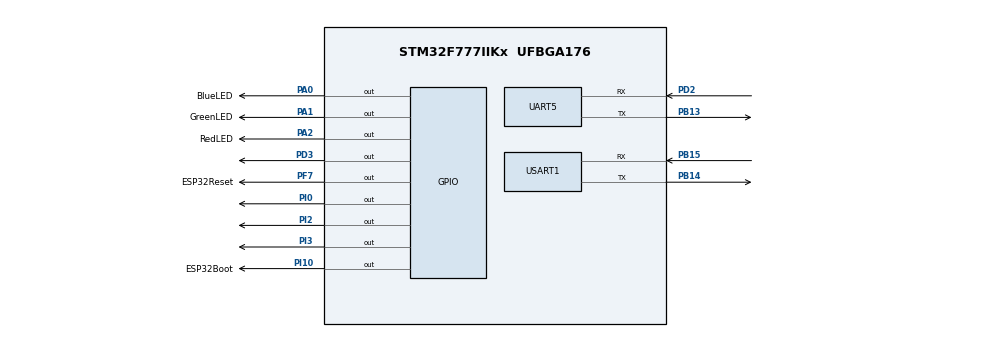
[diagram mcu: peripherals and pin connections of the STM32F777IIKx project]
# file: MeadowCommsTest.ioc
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Mcu.Family=STM32F7
Mcu.Name=STM32F777IIKx
Mcu.Package=UFBGA176
NVIC.PriorityGroup=NVIC_PRIORITYGROUP_4
NVIC.UART5_IRQn=true\:0\:0\:false\:false\:true\:true\:true
NVIC.USART1_IRQn=true\:0\:0\:false\:false\:true\:true\:true
PA0/WKUP.GPIO_Label=BlueLED
PA0/WKUP.Signal=GPIO_Output
PA1.GPIO_Label=GreenLED
PA1.Signal=GPIO_Output
PA2.GPIO_Label=RedLED
PA2.Signal=GPIO_Output
PB13.Mode=Asynchronous
PB13.Signal=UART5_TX
PB14.Mode=Asynchronous
PB14.Signal=USART1_TX
PB15.Mode=Asynchronous
PB15.Signal=USART1_RX
PD2.Mode=Asynchronous
PD2.Signal=UART5_RX
PD3.Signal=GPIO_Output
PF7.GPIO_Label=ESP32Reset
PF7.GPIO_PuPd=GPIO_PULLUP
PF7.PinState=GPIO_PIN_SET
PF7.Signal=GPIO_Output
PI0.Signal=GPIO_Output
PI10.GPIO_Label=ESP32Boot
PI10.GPIO_PuPd=GPIO_PULLUP
PI10.PinState=GPIO_PIN_SET
PI10.Signal=GPIO_Output
PI2.Signal=GPIO_Output
PI3.Signal=GPIO_Output
ProjectManager.HeapSize=0x200
ProjectManager.StackSize=0x400
ProjectManager.TargetToolchain=STM32CubeIDE
RCC.HSE_VALUE=25000000
RCC.HSI_VALUE=16000000
RCC.LSE_VALUE=32768
RCC.USBFreq_Value=96000000
RCC.VCOOutputFreq_Value=192000000
USART1.VirtualMode-Asynchronous=VM_ASYNC
board=custom

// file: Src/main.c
/* USER CODE BEGIN Header */
/**
 ******************************************************************************
 * @file           : main.c
 * @brief          : Main program body
 ******************************************************************************
 ** This notice applies to any and all portions of this file
 * that are not between comment pairs USER CODE BEGIN and
 * USER CODE END. Other portions of this file, whether
 * inserted by the user or by software development tools
 * are owned by their respective copyright owners.
 *
 * COPYRIGHT(c) 2019 STMicroelectronics
 *
 * Redistribution and use in source and binary forms, with or without modification,
 * are permitted provided that the following conditions are met:
 *   1. Redistributions of source code must retain the above copyright notice,
 *      this list of conditions and the following disclaimer.
 *   2. Redistributions in binary form must reproduce the above copyright notice,
 *      this list of conditions and the following disclaimer in the documentation
 *      and/or other materials provided with the distribution.
 *   3. Neither the name of STMicroelectronics nor the names of its contributors
 *      may be used to endorse or promote products derived from this software
 *      without specific prior written permission.
 *
 * THIS SOFTWARE IS PROVIDED BY THE COPYRIGHT HOLDERS AND CONTRIBUTORS "AS IS"
 * AND ANY EXPRESS OR IMPLIED WARRANTIES, INCLUDING, BUT NOT LIMITED TO, THE
 * IMPLIED WARRANTIES OF MERCHANTABILITY AND FITNESS FOR A PARTICULAR PURPOSE ARE
 * DISCLAIMED. IN NO EVENT SHALL THE COPYRIGHT HOLDER OR CONTRIBUTORS BE LIABLE
 * FOR ANY DIRECT, INDIRECT, INCIDENTAL, SPECIAL, EXEMPLARY, OR CONSEQUENTIAL
 * DAMAGES (INCLUDING, BUT NOT LIMITED TO, PROCUREMENT OF SUBSTITUTE GOODS OR
 * SERVICES; LOSS OF USE, DATA, OR PROFITS; OR BUSINESS INTERRUPTION) HOWEVER
 * CAUSED AND ON ANY THEORY OF LIABILITY, WHETHER IN CONTRACT, STRICT LIABILITY,
 * OR TORT (INCLUDING NEGLIGENCE OR OTHERWISE) ARISING IN ANY WAY OUT OF THE USE
 * OF THIS SOFTWARE, EVEN IF ADVISED OF THE POSSIBILITY OF SUCH DAMAGE.
 *
 ******************************************************************************
 */
/* USER CODE END Header */

#include "main.h"

/* USER CODE BEGIN Includes */

#include <string.h>
#include "ESPFunctions.h"

/* USER CODE END Includes */

UART_HandleTypeDef huart5;
UART_HandleTypeDef huart1;

/* USER CODE BEGIN PV */

/*
 *    Hold the data generated by the interrupt.
 */
char _rxData[2];

/*
 *    Hold the accumulated data incoming from the UART.
 */
#define RX_BUFFER_CAPACITY 1000
char _rxBuffer[RX_BUFFER_CAPACITY];

/*
 *    Location of the next character in the accumulated buffer.
 */
uint8_t _rxIndex;

/* USER CODE END PV */

void SystemClock_Config(void);
static void MX_GPIO_Init(void);
static void MX_USART1_UART_Init(void);
static void MX_UART5_Init(void);

/* USER CODE BEGIN 0 */

/*
 *    @brief UART Data Received callback.
 *
 *    @param huart
 *      Handle for the UART generating the interrupt.
 */
void HAL_UART_RxCpltCallback(UART_HandleTypeDef *huart)
{
	if (huart->Instance == huart5.Instance)
	{
		if (_rxIndex < RX_BUFFER_CAPACITY)
		{
			_rxBuffer[_rxIndex++] = _rxData[0];
		}
		HAL_UART_Receive_IT(&huart5, (uint8_t *) _rxData, 1);
	}
}

/*
 *    Send the specified message to the UART.
 */
void SendMessageToConsole(char *message)
{
	HAL_UART_Transmit(&huart1, (uint8_t *) message, strlen(message), HAL_MAX_DELAY);
}

/* USER CODE END 0 */

int main(void)
{
	/* USER CODE BEGIN 1 */

	for (int index = 0; index < RX_BUFFER_CAPACITY; index++)
	{
		_rxBuffer[index] = 0;
	}
	_rxIndex = 0;

#define SIZE_OF_INITIALISATION_MESSAGE 46
	uint8_t initialisationMessage[SIZE_OF_INITIALISATION_MESSAGE];
	initialisationMessage[0] = 0xc0;
	initialisationMessage[1] = 0x00;
	initialisationMessage[2] = 0x08;
	initialisationMessage[3] = 0x24;
	initialisationMessage[4] = 0x00;
	initialisationMessage[5] = 0x00;
	initialisationMessage[6] = 0x00;
	initialisationMessage[7] = 0x00;
	initialisationMessage[8] = 0x00;
	memcpy(initialisationMessage + 9, syncFrame, SIZE_OF_SYNC_FRAME);
	initialisationMessage[45] = 0xc0;

	/* USER CODE END 1 */

	/* MCU Configuration--------------------------------------------------------*/

	/* Reset of all peripherals, Initializes the Flash interface and the Systick. */
	HAL_Init();

	/* Configure the system clock */
	SystemClock_Config();

	/* Initialize all configured peripherals */
	MX_GPIO_Init();
	MX_USART1_UART_Init();
	MX_UART5_Init();
	/* USER CODE BEGIN 2 */

	HAL_GPIO_WritePin(BlueLED_GPIO_Port, BlueLED_Pin, GPIO_PIN_SET);
	HAL_GPIO_WritePin(RedLED_GPIO_Port, RedLED_Pin, GPIO_PIN_SET);
	HAL_UART_Receive_IT(&huart5, (uint8_t *) _rxData, 1);

	/* USER CODE END 2 */

	/* Infinite loop */
	/* USER CODE BEGIN WHILE */

	enum CommunicationState currentState = Synchronising;
	int retryCount = 0;
	SendMessageToConsole("\n\nESP32 Programmer\n");
	//
	//  Reset the ESP32 and put into boot loader mode.
	//
	HAL_GPIO_WritePin(ESP32Reset_GPIO_Port, ESP32Reset_Pin, GPIO_PIN_RESET);
	HAL_GPIO_WritePin(ESP32Boot_GPIO_Port, ESP32Boot_Pin, GPIO_PIN_RESET);
	HAL_Delay(10);
	HAL_GPIO_WritePin(ESP32Reset_GPIO_Port, ESP32Reset_Pin, GPIO_PIN_SET);
	HAL_Delay(100);
	HAL_GPIO_WritePin(ESP32Boot_GPIO_Port, ESP32Boot_Pin, GPIO_PIN_SET);
	//
	//  Should now be in boot loader.
	//
	uint8_t copyOfBuffer[RX_BUFFER_CAPACITY];
	int sizeOfBuffer = _rxIndex;
	while ((currentState == Synchronising) && (retryCount < 10))
	{
		SendMessageToConsole("Sending synchronisation frame.\n");
		HAL_GPIO_TogglePin(GreenLED_GPIO_Port, GreenLED_Pin);
		HAL_UART_Transmit(&huart5, syncFrame, SIZE_OF_SYNC_FRAME, HAL_MAX_DELAY);
		SendMessageToConsole(BufferInHexadecimal(syncFrame, SIZE_OF_SYNC_FRAME));
		SendMessageToConsole("\nFollowed by:\n");
		HAL_Delay(200);
		HAL_UART_Transmit(&huart5, initialisationMessage, sizeof(initialisationMessage), HAL_MAX_DELAY);
		char *message = BufferInHexadecimal(initialisationMessage, SIZE_OF_INITIALISATION_MESSAGE);
		SendMessageToConsole(message);
		HAL_Delay(200);

		if (sizeOfBuffer > 0)
		{
			//
			//  Take a copy of the input buffer in case any more data arrives.
			//
			memcpy(copyOfBuffer, _rxBuffer, _rxIndex);
			_rxIndex = 0;
			SendMessageToConsole("Received:\n");
			char *message = BufferInHexadecimal(copyOfBuffer, sizeOfBuffer);
			SendMessageToConsole(message);
			free(message);

			uint8_t *start = copyOfBuffer;
			uint8_t *end = start + sizeOfBuffer;
			uint8_t extractedMessage[100];
			int extractedMessageIndex = 0;
			int seekingMessage = 1;
			uint8_t syncCompleteMessage[] = { 0x01, 0x08, 0x04, 0x00, 0x07, 0x07, 0x12, 0x20, 0x00, 0x00, 0x00, 0x00 };
			while ((start < end) && (currentState == Synchronising))
			{
				if ((*start == 0xC0) && (seekingMessage == 1))
				{
					seekingMessage = 0;
					start++;
				}
				else
				{
					if (seekingMessage == 1)
					{
						start++;
					}
					else
					{
						if (*start == 0xC0)
						{
							char *message = BufferInHexadecimal(extractedMessage, extractedMessageIndex);
							SendMessageToConsole("Extracted message:\n");
							SendMessageToConsole(message);
							SendMessageToConsole("\n");
							free(message);
							if (extractedMessageIndex == sizeof(syncCompleteMessage))
							{
								int same = 1;
								for (int index = 0; index < extractedMessageIndex; index++)
								{
									if (extractedMessage[index] != syncCompleteMessage[index])
									{
										same = 0;
										break;
									}
								}
								if (same == 1)
								{
									SendMessageToConsole("Synchronisation complete.\n\nGettingChip ID\n");
									currentState = GettingChipID;
								}
							}
							seekingMessage = 1;
							extractedMessageIndex = 0;
						}
						else
						{
							extractedMessage[extractedMessageIndex] = *start;
							start++;
							extractedMessageIndex++;
						}
					}
				}
			}
		}
		retryCount++;

		/* USER CODE END WHILE */

		/* USER CODE BEGIN 3 */
	}

	HAL_Delay(500);
	_rxIndex = 0;

	uint8_t getChipIDMessage[] = { 0xc0, 0x00, 0x0a, 0x04, 0x00, 0x00, 0x00, 0x00, 0x00, 0x0c, 0xa0, 0x01, 0x60, 0xc0 };
	HAL_GPIO_TogglePin(GreenLED_GPIO_Port, GreenLED_Pin);
	SendMessageToConsole("Sending message:\n");
	char *message = BufferInHexadecimal(getChipIDMessage, sizeof(getChipIDMessage));
	SendMessageToConsole(message);
	free(message);
	HAL_UART_Transmit(&huart5, getChipIDMessage, sizeof(getChipIDMessage), HAL_MAX_DELAY);
	HAL_Delay(100);
	sizeOfBuffer = _rxIndex;
	if (sizeOfBuffer > 0)
	{
		//
		//  Take a copy of the input buffer in case any more data arrives.
		//
		memcpy(copyOfBuffer, _rxBuffer, _rxIndex);
		_rxIndex = 0;
		SendMessageToConsole("Received:\n");
		char *message = BufferInHexadecimal(copyOfBuffer, sizeOfBuffer);
		SendMessageToConsole(message);
		free(message);
		//
		//  Now decode the message.
		//
		if (sizeOfBuffer == 14)
		{
			uint32_t chipRegister = (copyOfBuffer[8] << 24) | (copyOfBuffer[7] << 16) | (copyOfBuffer[6] << 8) | copyOfBuffer[5];
			uint32_t revision = (chipRegister >> 15) & 0x01;
			uint32_t chipType = (chipRegister >> 9) & 0x07;
			char *chipName;
			switch (chipType)
			{
				case 0:
					chipName = "ESP32D0WDQ6";
					break;
				case 1:
					chipName = "ESP32D0WDQ5";
					break;
				case 2:
					chipName = "ESP32D2WDQ5";
					break;
				case 5:
					chipName = "ESP32-PICO-D4";
					break;
				default:
					chipName = "Unknown chip name";
					break;
			}
			char chipMessage[100];
			snprintf(chipMessage, 100, "Chip is a %s, (revision %ld)\n", chipName, revision);
			SendMessageToConsole(chipMessage);
		}
	}

	SendMessageToConsole("Exiting.\n");

	/* USER CODE END 3 */
}

void SystemClock_Config(void)
{
	RCC_OscInitTypeDef RCC_OscInitStruct = { 0 };
	RCC_ClkInitTypeDef RCC_ClkInitStruct = { 0 };
	RCC_PeriphCLKInitTypeDef PeriphClkInitStruct = { 0 };

	/** Configure the main internal regulator output voltage
	 */
	__HAL_RCC_PWR_CLK_ENABLE()
	;
	__HAL_PWR_VOLTAGESCALING_CONFIG(PWR_REGULATOR_VOLTAGE_SCALE3);
	/** Initializes the CPU, AHB and APB busses clocks
	 */
	RCC_OscInitStruct.OscillatorType = RCC_OSCILLATORTYPE_HSI;
	RCC_OscInitStruct.HSIState = RCC_HSI_ON;
	RCC_OscInitStruct.HSICalibrationValue = RCC_HSICALIBRATION_DEFAULT;
	RCC_OscInitStruct.PLL.PLLState = RCC_PLL_NONE;
	if (HAL_RCC_OscConfig(&RCC_OscInitStruct) != HAL_OK)
	{
		Error_Handler();
	}
	/** Initializes the CPU, AHB and APB busses clocks
	 */
	RCC_ClkInitStruct.ClockType = RCC_CLOCKTYPE_HCLK | RCC_CLOCKTYPE_SYSCLK | RCC_CLOCKTYPE_PCLK1 | RCC_CLOCKTYPE_PCLK2;
	RCC_ClkInitStruct.SYSCLKSource = RCC_SYSCLKSOURCE_HSI;
	RCC_ClkInitStruct.AHBCLKDivider = RCC_SYSCLK_DIV1;
	RCC_ClkInitStruct.APB1CLKDivider = RCC_HCLK_DIV1;
	RCC_ClkInitStruct.APB2CLKDivider = RCC_HCLK_DIV1;

	if (HAL_RCC_ClockConfig(&RCC_ClkInitStruct, FLASH_LATENCY_0) != HAL_OK)
	{
		Error_Handler();
	}
	PeriphClkInitStruct.PeriphClockSelection = RCC_PERIPHCLK_USART1 | RCC_PERIPHCLK_UART5;
	PeriphClkInitStruct.Usart1ClockSelection = RCC_USART1CLKSOURCE_PCLK2;
	PeriphClkInitStruct.Uart5ClockSelection = RCC_UART5CLKSOURCE_PCLK1;
	if (HAL_RCCEx_PeriphCLKConfig(&PeriphClkInitStruct) != HAL_OK)
	{
		Error_Handler();
	}
}

static void MX_UART5_Init(void)
{

	huart5.Instance = UART5;
	huart5.Init.BaudRate = 115200;
	huart5.Init.WordLength = UART_WORDLENGTH_8B;
	huart5.Init.StopBits = UART_STOPBITS_1;
	huart5.Init.Parity = UART_PARITY_NONE;
	huart5.Init.Mode = UART_MODE_TX_RX;
	huart5.Init.HwFlowCtl = UART_HWCONTROL_NONE;
	huart5.Init.OverSampling = UART_OVERSAMPLING_16;
	huart5.Init.OneBitSampling = UART_ONE_BIT_SAMPLE_DISABLE;
	huart5.AdvancedInit.AdvFeatureInit = UART_ADVFEATURE_NO_INIT;
	if (HAL_UART_Init(&huart5) != HAL_OK)
	{
		Error_Handler();
	}

}

static void MX_USART1_UART_Init(void)
{

	huart1.Instance = USART1;
	huart1.Init.BaudRate = 115200;
	huart1.Init.WordLength = UART_WORDLENGTH_8B;
	huart1.Init.StopBits = UART_STOPBITS_1;
	huart1.Init.Parity = UART_PARITY_NONE;
	huart1.Init.Mode = UART_MODE_TX_RX;
	huart1.Init.HwFlowCtl = UART_HWCONTROL_NONE;
	huart1.Init.OverSampling = UART_OVERSAMPLING_16;
	huart1.Init.OneBitSampling = UART_ONE_BIT_SAMPLE_DISABLE;
	huart1.AdvancedInit.AdvFeatureInit = UART_ADVFEATURE_NO_INIT;
	if (HAL_UART_Init(&huart1) != HAL_OK)
	{
		Error_Handler();
	}

}

static void MX_GPIO_Init(void)
{
	GPIO_InitTypeDef GPIO_InitStruct = { 0 };

	/* GPIO Ports Clock Enable */
	__HAL_RCC_GPIOI_CLK_ENABLE()
	;
	__HAL_RCC_GPIOD_CLK_ENABLE()
	;
	__HAL_RCC_GPIOF_CLK_ENABLE()
	;
	__HAL_RCC_GPIOA_CLK_ENABLE()
	;
	__HAL_RCC_GPIOB_CLK_ENABLE()
	;

	/*Configure GPIO pin Output Level */
	HAL_GPIO_WritePin(GPIOI, GPIO_PIN_3 | GPIO_PIN_2 | GPIO_PIN_0, GPIO_PIN_RESET);

	/*Configure GPIO pin Output Level */
	HAL_GPIO_WritePin(GPIOD, GPIO_PIN_3, GPIO_PIN_RESET);

	/*Configure GPIO pin Output Level */
	HAL_GPIO_WritePin(ESP32Boot_GPIO_Port, ESP32Boot_Pin, GPIO_PIN_SET);

	/*Configure GPIO pin Output Level */
	HAL_GPIO_WritePin(ESP32Reset_GPIO_Port, ESP32Reset_Pin, GPIO_PIN_SET);

	/*Configure GPIO pin Output Level */
	HAL_GPIO_WritePin(GPIOA, GreenLED_Pin | BlueLED_Pin | RedLED_Pin, GPIO_PIN_RESET);

	/*Configure GPIO pins : PI3 PI2 PI0 */
	GPIO_InitStruct.Pin = GPIO_PIN_3 | GPIO_PIN_2 | GPIO_PIN_0;
	GPIO_InitStruct.Mode = GPIO_MODE_OUTPUT_PP;
	GPIO_InitStruct.Pull = GPIO_NOPULL;
	GPIO_InitStruct.Speed = GPIO_SPEED_FREQ_LOW;
	HAL_GPIO_Init(GPIOI, &GPIO_InitStruct);

	/*Configure GPIO pin : PD3 */
	GPIO_InitStruct.Pin = GPIO_PIN_3;
	GPIO_InitStruct.Mode = GPIO_MODE_OUTPUT_PP;
	GPIO_InitStruct.Pull = GPIO_NOPULL;
	GPIO_InitStruct.Speed = GPIO_SPEED_FREQ_LOW;
	HAL_GPIO_Init(GPIOD, &GPIO_InitStruct);

	/*Configure GPIO pin : ESP32Boot_Pin */
	GPIO_InitStruct.Pin = ESP32Boot_Pin;
	GPIO_InitStruct.Mode = GPIO_MODE_OUTPUT_PP;
	GPIO_InitStruct.Pull = GPIO_PULLUP;
	GPIO_InitStruct.Speed = GPIO_SPEED_FREQ_LOW;
	HAL_GPIO_Init(ESP32Boot_GPIO_Port, &GPIO_InitStruct);

	/*Configure GPIO pin : ESP32Reset_Pin */
	GPIO_InitStruct.Pin = ESP32Reset_Pin;
	GPIO_InitStruct.Mode = GPIO_MODE_OUTPUT_PP;
	GPIO_InitStruct.Pull = GPIO_PULLUP;
	GPIO_InitStruct.Speed = GPIO_SPEED_FREQ_LOW;
	HAL_GPIO_Init(ESP32Reset_GPIO_Port, &GPIO_InitStruct);

	/*Configure GPIO pins : GreenLED_Pin BlueLED_Pin RedLED_Pin */
	GPIO_InitStruct.Pin = GreenLED_Pin | BlueLED_Pin | RedLED_Pin;
	GPIO_InitStruct.Mode = GPIO_MODE_OUTPUT_PP;
	GPIO_InitStruct.Pull = GPIO_NOPULL;
	GPIO_InitStruct.Speed = GPIO_SPEED_FREQ_LOW;
	HAL_GPIO_Init(GPIOA, &GPIO_InitStruct);

}

void Error_Handler(void)
{
}

/************************ (C) COPYRIGHT STMicroelectronics *****END OF FILE****/
